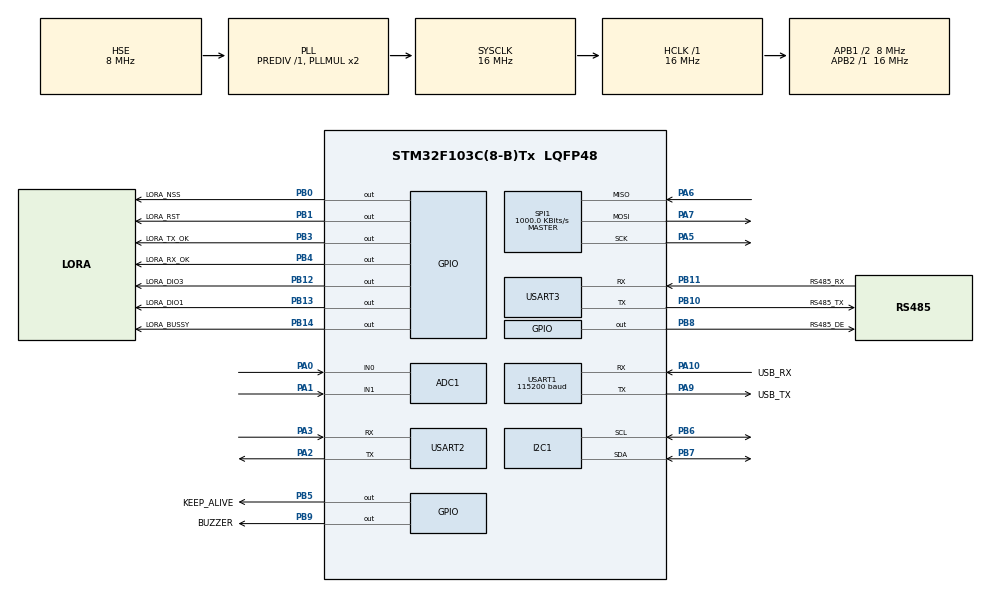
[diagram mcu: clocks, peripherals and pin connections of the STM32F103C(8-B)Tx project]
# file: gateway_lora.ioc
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ADC1.Channel-0\#ChannelRegularConversion=ADC_CHANNEL_0
ADC1.Channel-1\#ChannelRegularConversion=ADC_CHANNEL_1
ADC1.Channel-2\#ChannelRegularConversion=ADC_CHANNEL_VREFINT
ADC1.Channel-4\#ChannelRegularConversion=ADC_CHANNEL_0
ADC1.ContinuousConvMode=DISABLE
ADC1.ExternalTrigConv=ADC_SOFTWARE_START
ADC1.NbrOfConversion=4
ADC1.NbrOfConversionFlag=1
ADC1.Rank-0\#ChannelRegularConversion=1
ADC1.Rank-1\#ChannelRegularConversion=2
ADC1.Rank-2\#ChannelRegularConversion=3
ADC1.Rank-4\#ChannelRegularConversion=4
ADC1.SamplingTime-0\#ChannelRegularConversion=ADC_SAMPLETIME_239CYCLES_5
ADC1.SamplingTime-1\#ChannelRegularConversion=ADC_SAMPLETIME_239CYCLES_5
ADC1.SamplingTime-2\#ChannelRegularConversion=ADC_SAMPLETIME_239CYCLES_5
ADC1.SamplingTime-4\#ChannelRegularConversion=ADC_SAMPLETIME_1CYCLE_5
ADC1.master=1
I2C1.I2C_Mode=I2C_Fast
IWDG.Prescaler=IWDG_PRESCALER_256
IWDG.Reload=782
Mcu.Family=STM32F1
Mcu.Name=STM32F103C(8-B)Tx
Mcu.Package=LQFP48
NVIC.PriorityGroup=NVIC_PRIORITYGROUP_4
NVIC.USART1_IRQn=true\:0\:0\:false\:false\:true\:true\:true\:true
NVIC.USART2_IRQn=true\:0\:0\:false\:false\:true\:true\:true\:true
PA0-WKUP.Signal=ADCx_IN0
PA1.Signal=ADCx_IN1
PA10.GPIO_Label=USB_RX
PA10.Mode=Asynchronous
PA10.Signal=USART1_RX
PA13.Mode=Serial_Wire
PA13.Signal=SYS_JTMS-SWDIO
PA14.Mode=Serial_Wire
PA14.Signal=SYS_JTCK-SWCLK
PA2.Mode=Asynchronous
PA2.Signal=USART2_TX
PA3.Mode=Asynchronous
PA3.Signal=USART2_RX
PA5.Mode=Full_Duplex_Master
PA5.Signal=SPI1_SCK
PA6.Mode=Full_Duplex_Master
PA6.Signal=SPI1_MISO
PA7.Mode=Full_Duplex_Master
PA7.Signal=SPI1_MOSI
PA9.GPIO_Label=USB_TX
PA9.Mode=Asynchronous
PA9.Signal=USART1_TX
PB0.GPIO_Label=LORA_NSS
PB0.Signal=GPIO_Output
PB1.GPIO_Label=LORA_RST
PB1.Signal=GPIO_Output
PB10.GPIO_Label=RS485_TX
PB10.Mode=Asynchronous
PB10.Signal=USART3_TX
PB11.GPIO_Label=RS485_RX
PB11.Mode=Asynchronous
PB11.Signal=USART3_RX
PB12.GPIO_Label=LORA_DIO3
PB12.Signal=GPIO_Output
PB13.GPIO_Label=LORA_DIO1
PB13.Signal=GPIO_Output
PB14.GPIO_Label=LORA_BUSSY
PB14.Signal=GPIO_Output
PB3.GPIO_Label=LORA_TX_OK
PB3.Signal=GPIO_Output
PB4.GPIO_Label=LORA_RX_OK
PB4.Signal=GPIO_Output
PB5.GPIO_Label=KEEP_ALIVE
PB5.Signal=GPIO_Output
PB6.Mode=I2C
PB6.Signal=I2C1_SCL
PB7.Mode=I2C
PB7.Signal=I2C1_SDA
PB8.GPIO_Label=RS485_DE
PB8.Signal=GPIO_Output
PB9.GPIO_Label=BUZZER
PB9.Signal=GPIO_Output
PD0-OSC_IN.Mode=HSE-External-Oscillator
PD0-OSC_IN.Signal=RCC_OSC_IN
PD1-OSC_OUT.Mode=HSE-External-Oscillator
PD1-OSC_OUT.Signal=RCC_OSC_OUT
ProjectManager.HeapSize=0x200
ProjectManager.StackSize=0x400
ProjectManager.TargetToolchain=STM32CubeIDE
RCC.AHBFreq_Value=16000000
RCC.APB1CLKDivider=RCC_HCLK_DIV2
RCC.APB1Freq_Value=8000000
RCC.APB1TimFreq_Value=16000000
RCC.APB2Freq_Value=16000000
RCC.APB2TimFreq_Value=16000000
RCC.HCLKFreq_Value=16000000
RCC.PLLSourceVirtual=RCC_PLLSOURCE_HSE
RCC.SYSCLKFreq_VALUE=16000000
RCC.SYSCLKSource=RCC_SYSCLKSOURCE_PLLCLK
RCC.USBFreq_Value=16000000
SH.ADCx_IN0.0=ADC1_IN0,IN0
SH.ADCx_IN1.0=ADC1_IN1,IN1
SPI1.BaudRatePrescaler=SPI_BAUDRATEPRESCALER_16
SPI1.CRCCalculation=SPI_CRCCALCULATION_DISABLE
SPI1.CalculateBaudRate=1000.0 KBits/s
SPI1.Direction=SPI_DIRECTION_2LINES
SPI1.Mode=SPI_MODE_MASTER
SPI1.VirtualType=VM_MASTER
USART1.BaudRate=115200
USART1.VirtualMode=VM_ASYNC
USART2.VirtualMode=VM_ASYNC
USART3.VirtualMode=VM_ASYNC
VP_ADC1_TempSens_Input.Mode=IN-TempSens
VP_ADC1_Vref_Input.Mode=IN-Vrefint
VP_CRC_VS_CRC.Mode=CRC_Activate
VP_IWDG_VS_IWDG.Mode=IWDG_Activate
board=custom

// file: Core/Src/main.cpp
/* USER CODE BEGIN Header */
/**
 ******************************************************************************
 * @file           : main.c
 * @brief          : Main program body for LoRa Gateway (RX, TX, TX_RX modes)
 ******************************************************************************
 * @attention
 *
 * Copyright (c) 2024 STMicroelectronics. // Copyright (c) 2024-2025 YourCompany.
 * All rights reserved.
 *
 * This software is licensed under terms that can be found in the LICENSE file
 * in the root directory of this software component.
 * If no LICENSE file comes with this software, it is provided AS-IS.
 *
 ******************************************************************************
 */
/* USER CODE END Header */
#include "main.h"

/* USER CODE BEGIN Includes */
#include "Gpio.hpp"
#include "GpioHandler.hpp" // GpioHandler might not be used if only LED toggling
#include "Lora.hpp"
#include "Memory.hpp"
#include "UartHandler.hpp"
#include "CommandMessage.hpp"
#include <vector>
#include <cstring> // For memcpy and memset
#include <stdio.h>  // For printf

// Include version information (auto-generated during build)
#ifdef __has_include
#if __has_include("version.h")
#include "version.h"
#endif
#endif

// Default version info if version.h is not available
#ifndef FIRMWARE_VERSION
#define FIRMWARE_VERSION "2.0.0"
#define BUILD_DATE "unknown"
#define BUILD_TIME "unknown"
#define GIT_HASH "unknown"
#define GIT_TAG "v2.0.0"
#define VERSION_STRING "v2.0.0 (unknown)"
#endif
#include <algorithm> // For std::min
#include <random>
#include <memory>
#include <cmath> // For sqrtf function
/* USER CODE END Includes */

/* USER CODE BEGIN PTD */

// Define el modo de operación del firmware.
// Cambiar esto para recompilar en un modo diferente.

enum class OperationMode {
  RX_MODE,
  TX_MODE,
  TX_RX_MODE
};

#define FIRMWARE_OPERATION_MODE OperationMode::TX_RX_MODE

// Identificador único para este dispositivo y su función de módulo esperada para comandos de configuración
#define DEVICE_ID 0x00
#define DEVICE_MODULE_FUNCTION MODULE_FUNCTION::SERVER // Asume que los comandos de config van a un "SERVER"

// Constantes para los modos de operación
#define MODE_OPERATION_RX 0x01
#define MODE_OPERATION_TX 0x02
#define MODE_OPERATION_TX_RX 0x03

// Constantes para simulación de Sniffer
#define CMD_ID_TRIGGER_SNIFFER_SIMULATION 0x30
#define SNIFFER_IO_DATA_SIZE 33
#define SNIFFER_TAG_DATA_SIZE 33 // Definido aquí para evitar errores de identificador no definido

// Constantes para simulación de tags basadas en el código Python
#define ONE_DETECTION 0x17
#define MULTIPLE_DETECTION 0x18
#define MAX_DISTANCE_A 40.0f
#define TRANSMITTER_DISTANCE 2.4f
#define MAX_DISTANCE_DIFF 0.5f
#define Y_CONST -3.0f
#define MAX_SNIFFERS 5
#define MAX_TAGS_PER_FRAME 24

// Estructura para datos de tag con distancias (Multiple Detection)
struct TagWithDistance {
    uint32_t tag_id;
    float distance_a;
    float distance_b;
    float battery;
    float x;
    float y;
};

// Estructura para datos de tag simple (One Detection)
struct TagSimple {
    uint32_t tag_id;
    uint8_t battery; // Battery * 10 (250-420 representa 2.5V-4.2V)
};

// Estructuras para simulación de datos de sniffer
struct SnifferDeviceConfig {
    uint8_t digital_output1;
    uint8_t digital_output2;
    uint8_t digital_input1;
    uint8_t digital_input2;
    uint8_t switch_output_20ma;
    uint8_t switch_input_20ma;
    uint8_t switch_serial;
    uint16_t analog_output_0_10v;
    uint16_t analog_output_x_20ma;
    uint16_t analog_input_0_10v;
    uint16_t analog_input6_x_20ma;
    uint16_t analog_input1_x_20ma;
    uint16_t analog_input2_x_20ma;
    uint16_t analog_input5_x_20ma;
};

struct DeviceSerialQueryConfigCpp {
    uint8_t query[16];
    uint8_t query_length;
    uint16_t response_size;
    uint16_t query_time_ms;
    uint32_t last_query_time_ms;
};

// Variables globales para simulación
bool simulationEnabled = false;
bool snifferTagSimulationEnabled = false; // Nueva bandera para simulación de sniffer tag
SnifferDeviceConfig deviceConfig;
DeviceSerialQueryConfigCpp serialQueryConfig;
uint32_t lastSimulationTime = 0;
uint32_t simulationInterval = 1000; // 1 segundo por defecto

// Variables para el estado de simulación de tags (matching Python logic)
uint32_t received_sniffer_id = 0;
uint32_t multiple_sniffer_id = 0;
uint32_t current_sniffer_id = 1;

// Array de UUIDs fijos para los sniffers
const char* device_uuids[] = {
    "f59422b3c7bb4fbc8d1893f1",  // UUIDs originales mantenidos
    "9e7a33fa404e2bc18986ceb4",
    "26870c502b927945422fc8ad",
    "a1b2c3d4e5f6a7b8c9d0e1f2",  // UUIDs fijos adicionales
    "b2c3d4e5f6a7b8c9d0e1f2a3",
    "c3d4e5f6a7b8c9d0e1f2a3b4",
    "d4e5f6a7b8c9d0e1f2a3b4c5",
    "e5f6a7b8c9d0e1f2a3b4c5d6",
    "f6a7b8c9d0e1f2a3b4c5d6e7",
    "a7b8c9d0e1f2a3b4c5d6e7f8",
    "b8c9d0e1f2a3b4c5d6e7f8a9",
    "c9d0e1f2a3b4c5d6e7f8a9b0",
    "d0e1f2a3b4c5d6e7f8a9b0c1",
    "e1f2a3b4c5d6e7f8a9b0c1d2",
    "f2a3b4c5d6e7f8a9b0c1d2e3",
    "a3b4c5d6e7f8a9b0c1d2e3f4",
    "b4c5d6e7f8a9b0c1d2e3f4a5",
    "c5d6e7f8a9b0c1d2e3f4a5b6",
    "d6e7f8a9b0c1d2e3f4a5b6c7",
    "e7f8a9b0c1d2e3f4a5b6c7d8"
};

#define NUM_DEVICE_UUIDS (sizeof(device_uuids) / sizeof(device_uuids[0]))

/* USER CODE END PTD */

/* USER CODE BEGIN PD */
#ifndef MAX_LORA_BUFFER_SIZE
#define MAX_LORA_BUFFER_SIZE 255
#endif

#ifndef MAX_UART_BUFFER_SIZE
#define MAX_UART_BUFFER_SIZE 255 // Asegúrate que CommandMessage.hpp o main.h lo define
#endif
/* USER CODE END PD */

ADC_HandleTypeDef hadc1;
CRC_HandleTypeDef hcrc;
I2C_HandleTypeDef hi2c1;
IWDG_HandleTypeDef hiwdg;
SPI_HandleTypeDef hspi1;
UART_HandleTypeDef huart1; // Assuming for debug or other purposes
UART_HandleTypeDef huart2; // Main UART for LoRa data and config
UART_HandleTypeDef huart3; // Potentially for other purposes

/* USER CODE BEGIN PV */
// Punteros globales inicializados a nullptr
UartHandler* uartHandler = nullptr;
Memory* eepromMemory = nullptr;
Gpio* loraNssPin = nullptr;
Gpio* loraRstPin = nullptr;
Lora* lora = nullptr;
Gpio* loraRxLed = nullptr;
Gpio* loraTxLed = nullptr;
Gpio* keepAliveLed = nullptr;
CommandMessage* uartCommandParser = nullptr;
CommandMessage* loraCommandParser = nullptr;
CommandMessage* uartSimulatedCommandParse = nullptr;

// Define el modo de operación actual
OperationMode currentOperationMode = FIRMWARE_OPERATION_MODE;

// Buffers and state for LoRa communication
uint8_t loraReceiveBuffer[MAX_LORA_BUFFER_SIZE] = {0};
uint8_t loraReceivedBytes = 0;
uint8_t loraTransmitBuffer[MAX_LORA_BUFFER_SIZE] = {0};
uint8_t loraTransmitSizeBytes = 0;
bool pendingLoraTransmission = false;

// Buffers and state for UART communication
uint8_t uartReceiveBuffer[MAX_UART_BUFFER_SIZE] = {0};
uint16_t uartReceivedBytes = 0; // Renamed from bytes_reciv_software and bytes_reciv
bool newUartDataReceived = false;

// Control flag to stop LoRa reception during UART processing
bool blockLoraReception = false;
uint32_t blockStartTime = 0;
const uint32_t BLOCK_DURATION_MS = 1000; // 1 second blocking period

uint32_t keepAliveLastTick = 0;
/* USER CODE END PV */

void SystemClock_Config(void);
static void MX_GPIO_Init(void);
static void MX_I2C1_Init(void);
static void MX_SPI1_Init(void);
static void MX_USART1_UART_Init(void);
static void MX_USART2_UART_Init(void);
static void MX_USART3_UART_Init(void);
static void MX_ADC1_Init(void);
static void MX_CRC_Init(void);
static void MX_IWDG_Init(void);
/* USER CODE BEGIN PFP */
void transmitLoraSettingResponse(Lora* loraDevice, UartHandler* uartComm, CommandMessage* cmdBuilder, uint8_t queryCommandId);
void processUartCommand(void);
void handleLoraReception(void);
void handleLoraTransmission(void);
// Prototipos para funcionalidad de simulación de sniffer
void initializeDefaultDeviceConfig(void);
void generateRandomSnifferIoDataCpp(uint8_t* buffer, size_t* dataSize, const SnifferDeviceConfig* config = nullptr);
void triggerSnifferSimulation(void);
void triggerSnifferTagSimulation(void); // Prototipo para nueva función
void handleSnifferSimulation(void);
bool buildAndSendSnifferFrame(const uint8_t* payload, size_t payloadSize, uint8_t commandId = 0x23);
bool buildAndSendTagSimulationFrame(uint8_t* buffer, size_t dataSize, bool isMultipleDetection);
uint32_t getRandomNumber(uint32_t min, uint32_t max);
void generateRandomSnifferTagDataCpp(uint8_t* buffer, size_t* dataSize); // Prototipo para generador de datos de sniffer tag
// Enhanced prototypes for Python-compatible tag simulation
void calculateXLimits(float y_const, float max_distance, float* x_min, float* x_max);
void generateDataConstantY(TagWithDistance* tags, uint8_t num_points);
void generateRandomMultipleDetectionData(TagWithDistance* tags, uint8_t num_tags);
void generateRandomOneDetectionData(TagSimple* tags, uint8_t num_tags);
void buildMultipleDetectionFrame(uint32_t sniffer_id, TagWithDistance* tags, uint8_t num_tags, uint8_t* buffer, size_t* dataSize);
void buildOneDetectionFrame(uint32_t sniffer_id, TagSimple* tags, uint8_t num_tags, uint8_t* buffer, size_t* dataSize);
void enhancedTagSimulation(uint8_t* buffer, size_t* dataSize, uint8_t* commandId); // Main enhanced simulation function
/* USER CODE END PFP */

/* USER CODE BEGIN 0 */

void HAL_UART_RxCpltCallback(UART_HandleTypeDef *huart) {
    if (huart == &huart1 && uartHandler != nullptr) {
        // Block LoRa reception when UART data is being received
        blockLoraReception = true;

        // Get the received byte from the buffer
        uint8_t received_byte = uartReceiveBuffer[0];

        // Process the received byte using the improved method
        uartReceivedBytes = uartHandler->process_received_byte(received_byte, uartReceiveBuffer);

        // Set flag if a complete frame was received
        if (uartReceivedBytes > 0) {
            newUartDataReceived = true;
        }

        // Continue reception for next byte
        HAL_UART_Receive_IT(huart, uartReceiveBuffer, 1);
    }
}

// Función para cambiar el modo de operación dinámicamente
bool changeOperationMode(uint8_t newMode) {
    switch(newMode) {
        case MODE_OPERATION_RX:
            currentOperationMode = OperationMode::RX_MODE;
            break;
        case MODE_OPERATION_TX:
            currentOperationMode = OperationMode::TX_MODE;
            break;
        case MODE_OPERATION_TX_RX:
            currentOperationMode = OperationMode::TX_RX_MODE;
            break;
        default:
            return false; // Modo no reconocido
    }

    // Limpiar buffers y estados
    memset(loraReceiveBuffer, 0, MAX_LORA_BUFFER_SIZE);
    memset(loraTransmitBuffer, 0, MAX_LORA_BUFFER_SIZE);
    loraReceivedBytes = 0;
    loraTransmitSizeBytes = 0;
    pendingLoraTransmission = false;

    // Se podría añadir indicación visual del cambio (LEDs)
    return true;
}

// ============================================================================
// IMPLEMENTACIÓN DE FUNCIONALIDAD DE SIMULACIÓN DE SNIFFER
// ============================================================================

/**
 * @brief Calcula CRC-16/MODBUS para un array de datos
 * @param data: Puntero a los datos
 * @param length: Longitud de los datos
 * @return CRC-16 calculado
 */
/**
 * @brief Inicializa la configuración por defecto del dispositivo sniffer
 */
void initializeDefaultDeviceConfig(void) {
    // Configuración digital por defecto
    deviceConfig.digital_output1 = 0;
    deviceConfig.digital_output2 = 0;
    deviceConfig.digital_input1 = 1;
    deviceConfig.digital_input2 = 0;
    deviceConfig.switch_output_20ma = 1;
    deviceConfig.switch_input_20ma = 0;
    deviceConfig.switch_serial = 1;

    // Configuración analógica por defecto (valores típicos entre 1000-4095)
    deviceConfig.analog_output_0_10v = 2500;
    deviceConfig.analog_output_x_20ma = 3000;
    deviceConfig.analog_input_0_10v = 2000;
    deviceConfig.analog_input6_x_20ma = 2800;
    deviceConfig.analog_input1_x_20ma = 3200;
    deviceConfig.analog_input2_x_20ma = 1800;
    deviceConfig.analog_input5_x_20ma = 3500;

    // Configuración de query serie por defecto
    memset(&serialQueryConfig, 0, sizeof(DeviceSerialQueryConfigCpp));
    serialQueryConfig.query_length = 0;
    serialQueryConfig.response_size = 0;
    serialQueryConfig.query_time_ms = 1000;
    serialQueryConfig.last_query_time_ms = 0;
}

/**
 * @brief Convierte un UUID en formato string hexadecimal a bytes
 * @param uuidStr: String del UUID (24 caracteres hex)
 * @param buffer: Buffer donde escribir los 12 bytes del UUID
 * @return true si la conversión fue exitosa, false en caso de error
 */
bool hexStringToBytes(const char* uuidStr, uint8_t* buffer) {
    if (!uuidStr || !buffer) return false;

    // Verificar que el string tenga exactamente 24 caracteres (12 bytes * 2)
    size_t len = strlen(uuidStr);
    if (len != 24) return false;

    for (int i = 0; i < 12; i++) {
        char highNibble = uuidStr[i * 2];
        char lowNibble = uuidStr[i * 2 + 1];

        // Convertir caracteres hex a valores numéricos
        uint8_t high = 0, low = 0;

        if (highNibble >= '0' && highNibble <= '9') high = highNibble - '0';
        else if (highNibble >= 'a' && highNibble <= 'f') high = highNibble - 'a' + 10;
        else if (highNibble >= 'A' && highNibble <= 'F') high = highNibble - 'A' + 10;
        else return false;

        if (lowNibble >= '0' && lowNibble <= '9') low = lowNibble - '0';
        else if (lowNibble >= 'a' && lowNibble <= 'f') low = lowNibble - 'a' + 10;
        else if (lowNibble >= 'A' && lowNibble <= 'F') low = lowNibble - 'A' + 10;
        else return false;

        buffer[i] = (high << 4) | low;
    }

    return true;
}

/**
 * @brief Genera un número aleatorio en un rango específico
 * @param min: Valor mínimo
 * @param max: Valor máximo
 * @return Número aleatorio generado
 */
uint32_t getRandomNumber(uint32_t min, uint32_t max) {
    static bool initialized = false;
    static std::mt19937 generator;

    if (!initialized) {
        generator.seed(HAL_GetTick());
        initialized = true;
    }

    std::uniform_int_distribution<uint32_t> distribution(min, max);
    return distribution(generator);
}

/**
 * @brief Genera datos aleatorios para Sniffer IO (equivalente a la función Python)
 * @param buffer: Buffer donde escribir los datos
 * @param dataSize: Puntero al tamaño de los datos generados
 * @param config: Configuración opcional (si es nullptr, usa valores aleatorios)
 */
void generateRandomSnifferIoDataCpp(uint8_t* buffer, size_t* dataSize, const SnifferDeviceConfig* config) {
    if (!buffer || !dataSize) return;

    *dataSize = SNIFFER_IO_DATA_SIZE; // 33 bytes
    memset(buffer, 0, SNIFFER_IO_DATA_SIZE);

    // Seleccionar un UUID fijo aleatorio de la lista (12 bytes)
    uint32_t uuidIndex = getRandomNumber(0, NUM_DEVICE_UUIDS - 1);
    const char* selectedUuid = device_uuids[uuidIndex];

    // Convertir UUID de string hex a bytes
    if (!hexStringToBytes(selectedUuid, buffer)) {
        // Si falla la conversión, generar UUID aleatorio como fallback
        for (int i = 0; i < 12; i++) {
            buffer[i] = getRandomNumber(0, 255);
        }
    }

    // Valores digitales (7 bytes) - usar configuración si está disponible
    if (config) {
        buffer[12] = config->digital_output1;
        buffer[13] = config->digital_output2;
        buffer[14] = config->digital_input1;
        buffer[15] = config->digital_input2;
        buffer[16] = config->switch_output_20ma;
        buffer[17] = config->switch_input_20ma;
        buffer[18] = config->switch_serial;
    } else {
        // Valores aleatorios para salidas digitales
        buffer[12] = getRandomNumber(0, 1); // Digital Output 1
        buffer[13] = getRandomNumber(0, 1); // Digital Output 2
        buffer[14] = getRandomNumber(0, 1); // Digital Input 1
        buffer[15] = getRandomNumber(0, 1); // Digital Input 2
        buffer[16] = getRandomNumber(0, 1); // Switch Output x 20mA
        buffer[17] = getRandomNumber(0, 1); // Switch Input x 20mA
        buffer[18] = getRandomNumber(0, 1); // Switch Serial
    }

    // Valores analógicos (14 bytes) - 7 valores de 2 bytes cada uno en big-endian
    uint16_t analogValues[7];

    if (config) {
        analogValues[0] = config->analog_output_0_10v;
        analogValues[1] = config->analog_output_x_20ma;
        analogValues[2] = config->analog_input_0_10v;
        analogValues[3] = config->analog_input6_x_20ma;
        analogValues[4] = config->analog_input1_x_20ma;
        analogValues[5] = config->analog_input2_x_20ma;
        analogValues[6] = config->analog_input5_x_20ma;
    } else {
        // Valores aleatorios entre 1000 y 4095 (12-bit ADC)
        for (int i = 0; i < 7; i++) {
            analogValues[i] = getRandomNumber(1000, 4095);
        }
    }

    // Escribir valores analógicos en formato big-endian
    for (int i = 0; i < 7; i++) {
        buffer[19 + i * 2] = (analogValues[i] >> 8) & 0xFF; // Byte alto
        buffer[20 + i * 2] = analogValues[i] & 0xFF;        // Byte bajo
    }
}

/**
 * @brief Genera datos aleatorios para Sniffer Tag (nueva función)
 * Simula el formato de "One Detection" (0x17) con múltiples tags
 * Estructura: Sniffer ID (12 bytes UUID) + Total Tags (1) + Frame Tags (1) + [Tag ID (4) + Battery (1)] * N
 * @param buffer: Buffer donde escribir los datos (hasta MAX_LORA_BUFFER_SIZE = 255 bytes)
 * @param dataSize: Puntero al tamaño de los datos generados
 */
void generateRandomSnifferTagDataCpp(uint8_t* buffer, size_t* dataSize) {
    if (!buffer || !dataSize) return;

    // Limpiar buffer con el tamaño máximo
    memset(buffer, 0, MAX_LORA_BUFFER_SIZE);

    // Calcular máximo número de tags basado en LoRa frame size (255 bytes)
    // Header: 12 bytes UUID + 1 byte total tags + 1 byte frame tags = 14 bytes
    // Cada tag: 4 bytes ID + 1 byte battery = 5 bytes por tag
    // Máximo tags: (255 - 14) / 5 = 48 tags
    const size_t header_size = 14; // 12 bytes UUID + 2 bytes counts
    const size_t bytes_per_tag = 5;
    const size_t max_tags = (MAX_LORA_BUFFER_SIZE - header_size) / bytes_per_tag;

    // Generar número aleatorio de tags (1 hasta máximo posible)
    uint8_t num_tags = getRandomNumber(1, max_tags);

    // Calcular tamaño final del frame
    *dataSize = header_size + (num_tags * bytes_per_tag);

    // Bytes 0-11: Sniffer ID usando UUID de la lista (mismo método que generateRandomSnifferIoDataCpp)
    uint32_t uuidIndex = getRandomNumber(0, NUM_DEVICE_UUIDS - 1);
    const char* selectedUuid = device_uuids[uuidIndex];

    // Convertir UUID de string hex a bytes (primeros 12 bytes)
    if (!hexStringToBytes(selectedUuid, buffer)) {
        // Si falla la conversión, generar UUID aleatorio como fallback
        for (int i = 0; i < 12; i++) {
            buffer[i] = getRandomNumber(0, 255);
        }
    }

    // Byte 12: Total tags registrados (mismo que frame tags para simplicidad)
    buffer[12] = num_tags;

    // Byte 13: Tags en este frame
    buffer[13] = num_tags;

    // Bytes 14+: Datos de cada tag (5 bytes por tag)
    size_t offset = 14;
    for (uint8_t i = 0; i < num_tags && offset + bytes_per_tag <= MAX_LORA_BUFFER_SIZE; ++i) {
        // Tag ID (4 bytes, little-endian) - rango 0-200 como en Python
        uint32_t tag_id = getRandomNumber(0, 200);
        buffer[offset] = tag_id & 0xFF;
        buffer[offset + 1] = (tag_id >> 8) & 0xFF;
        buffer[offset + 2] = (tag_id >> 16) & 0xFF;
        buffer[offset + 3] = (tag_id >> 24) & 0xFF;

        // Battery (1 byte) - rango 25-42 como en Python, pero multiplicado por 10 para el protocolo
        uint8_t battery = getRandomNumber(25, 42) * 10; // 250-420 (representa 2.5V-4.2V)
        buffer[offset + 4] = battery;

        offset += bytes_per_tag;
    }
}

/**
 * @brief Activa la simulación de sniffer
 */
void triggerSnifferSimulation(void) {
    simulationEnabled = true;
    snifferTagSimulationEnabled = false; // Por defecto, solo sniffer IO
}

/**
 * @brief Activa la simulación de sniffer tag
 */
void triggerSnifferTagSimulation(void) {
    snifferTagSimulationEnabled = true;
    simulationEnabled = false; // Solo uno activo a la vez
}

/**
 * @brief Maneja la lógica de simulación de sniffer (llamar desde el loop principal)
 */
void handleSnifferSimulation(void) {
    static uint32_t lastSimTime = 0;
    uint32_t now = HAL_GetTick();
    if (now - lastSimTime < simulationInterval) return;
    lastSimTime = now;

    // Buffer para datos de simulación - usar tamaño máximo de LoRa frame
    uint8_t simData[MAX_LORA_BUFFER_SIZE];
    size_t simDataSize = 0;

    if (simulationEnabled) {
        // Simulación IO: LED RX y TX alternan (patrón existente)
        generateRandomSnifferIoDataCpp(simData, &simDataSize, &deviceConfig);
        buildAndSendSnifferFrame(simData, simDataSize);

        // Indicador visual para simulación IO (patrón rápido)
        if (loraRxLed && loraTxLed) {
            HAL_GPIO_WritePin(loraRxLed->get_port(), loraRxLed->get_pin(), GPIO_PIN_SET);
            HAL_Delay(50);
            HAL_GPIO_WritePin(loraRxLed->get_port(), loraRxLed->get_pin(), GPIO_PIN_RESET);
            HAL_GPIO_WritePin(loraTxLed->get_port(), loraTxLed->get_pin(), GPIO_PIN_SET);
            HAL_Delay(50);
            HAL_GPIO_WritePin(loraTxLed->get_port(), loraTxLed->get_pin(), GPIO_PIN_RESET);
        }
        } else if (snifferTagSimulationEnabled) {
        // Enhanced TAG simulation: use new Python-compatible logic
        uint8_t frameCommandId = ONE_DETECTION; // Default
        enhancedTagSimulation(simData, &simDataSize, &frameCommandId);
        if (simDataSize > 0) {
            buildAndSendSnifferFrame(simData, simDataSize, frameCommandId);
        }

        // Indicador visual para simulación TAG (patrón doble)
        if (loraRxLed && loraTxLed) {
            // Doble parpadeo RX para indicar simulación TAG
            HAL_GPIO_WritePin(loraRxLed->get_port(), loraRxLed->get_pin(), GPIO_PIN_SET);
            HAL_GPIO_WritePin(loraTxLed->get_port(), loraTxLed->get_pin(), GPIO_PIN_SET);
            HAL_Delay(100);
            HAL_GPIO_WritePin(loraRxLed->get_port(), loraRxLed->get_pin(), GPIO_PIN_RESET);
            HAL_GPIO_WritePin(loraTxLed->get_port(), loraTxLed->get_pin(), GPIO_PIN_RESET);
            HAL_Delay(50);
            HAL_GPIO_WritePin(loraRxLed->get_port(), loraRxLed->get_pin(), GPIO_PIN_SET);
            HAL_GPIO_WritePin(loraTxLed->get_port(), loraTxLed->get_pin(), GPIO_PIN_SET);
            HAL_Delay(100);
            HAL_GPIO_WritePin(loraRxLed->get_port(), loraRxLed->get_pin(), GPIO_PIN_RESET);
            HAL_GPIO_WritePin(loraTxLed->get_port(), loraTxLed->get_pin(), GPIO_PIN_RESET);
        }
    }
}

/**
 * @brief Construye y envía un frame de sniffer completo con headers y CRC
 * @param payload: Datos del payload (33 bytes de IO + datos serie opcionales)
 * @param payloadSize: Tamaño del payload
 * @param commandId: Command ID to use (0x17 for One Detection, 0x18 for Multiple Detection, 0x23 for IO)
 * @return true si se envió correctamente, false en caso de error
 */
bool buildAndSendSnifferFrame(const uint8_t* payload, size_t payloadSize, uint8_t commandId) {
    if (!payload || payloadSize == 0 || !uartHandler || !uartSimulatedCommandParse) {
        return false;
    }

    // Configurar el comando dinámicamente
    uartSimulatedCommandParse->setCommandId(commandId);

    // Usar el nuevo protocolo FrameBuilder a través de composeAndSendMessage
    bool success = uartSimulatedCommandParse->composeAndSendMessage(
        uartHandler,
        const_cast<uint8_t*>(payload),
        static_cast<uint8_t>(payloadSize)
    );

    return success;
}

/**
 * @brief Build and send tag simulation frame with appropriate command ID
 * Determines the command ID based on frame content and sends the frame
 * @param buffer: Frame data buffer
 * @param dataSize: Size of frame data
 * @param isMultipleDetection: true for Multiple Detection (0x18), false for One Detection (0x17)
 * @return true if sent successfully, false otherwise
 */
bool buildAndSendTagSimulationFrame(uint8_t* buffer, size_t dataSize, bool isMultipleDetection) {
    if (!buffer || dataSize == 0) return false;

    uint8_t commandId = isMultipleDetection ? MULTIPLE_DETECTION : ONE_DETECTION;
    return buildAndSendSnifferFrame(buffer, dataSize, commandId);
}

// Optimized helper function to send LoRa setting responses via UART
// Uses cached values directly for maximum speed
void transmitLoraSettingResponse(Lora* loraDevice, UartHandler* uartComm, CommandMessage* cmdBuilder,
                                 uint8_t queryCommandId) {
    if (!loraDevice || !uartComm || !cmdBuilder) return;

    uint8_t dataArray[4];
    size_t dataSize = 0;

    // Use cached values directly - no EEPROM reads needed
    // Settings are loaded during initialization
    switch (queryCommandId) {
        case static_cast<uint8_t>(CommandType::QUERY_RX_FREQ): {
            float freqOut = loraDevice->get_rx_frequency() / 1000000.0f;
            memcpy(dataArray, &freqOut, sizeof(float));
            dataSize = sizeof(float);
            break;
        }
        case static_cast<uint8_t>(CommandType::QUERY_TX_FREQ): {
            float freqOut = loraDevice->get_tx_frequency() / 1000000.0f;
            memcpy(dataArray, &freqOut, sizeof(float));
            dataSize = sizeof(float);
            break;
        }
        case static_cast<uint8_t>(CommandType::QUERY_SPREAD_FACTOR): {
            uint8_t sf = loraDevice->get_spread_factor();
            memcpy(dataArray, &sf, sizeof(uint8_t));
            dataSize = sizeof(uint8_t);
            break;
        }
        case static_cast<uint8_t>(CommandType::QUERY_CODING_RATE): {
            uint8_t cr = loraDevice->get_coding_rate();
            memcpy(dataArray, &cr, sizeof(uint8_t));
            dataSize = sizeof(uint8_t);
            break;
        }
        case static_cast<uint8_t>(CommandType::QUERY_BANDWIDTH): {
            uint8_t bw = loraDevice->get_bandwidth();
            memcpy(dataArray, &bw, sizeof(uint8_t));
            dataSize = sizeof(uint8_t);
            break;
        }
        default:
            return;
    }

    // Send response immediately
    cmdBuilder->composeAndSendMessage(uartComm, dataArray, dataSize);
}

void processUartCommand() {
    if (!newUartDataReceived || uartReceivedBytes == 0 || !uartCommandParser || !lora || !uartHandler) {
        return;
    }

    STATUS frameStatus = uartCommandParser->validate(uartReceiveBuffer, uartReceivedBytes);

    if (frameStatus == STATUS::CONFIG_FRAME) {
        uint8_t commandId = uartCommandParser->getCommandId();

        // Convertir commandId a CommandType para comparación más clara en el switch
        switch (commandId) {
            // Casos para comandos de consulta
            case static_cast<uint8_t>(CommandType::QUERY_RX_FREQ):
            case static_cast<uint8_t>(CommandType::QUERY_TX_FREQ):
            case static_cast<uint8_t>(CommandType::QUERY_SPREAD_FACTOR):
            case static_cast<uint8_t>(CommandType::QUERY_CODING_RATE):
            case static_cast<uint8_t>(CommandType::QUERY_BANDWIDTH):
                transmitLoraSettingResponse(lora, uartHandler, uartCommandParser, commandId);
                break;

            // Casos para comandos de configuración
            case static_cast<uint8_t>(CommandType::SET_TX_FREQ): {
                int freqInt = uartCommandParser->freqDecode();
                lora->set_tx_freq(static_cast<uint32_t>(freqInt));
                // Send immediate response with new value
                transmitLoraSettingResponse(lora, uartHandler, uartCommandParser, static_cast<uint8_t>(CommandType::QUERY_TX_FREQ));
                // Defer slow operations to improve response time
                lora->save_settings();
                lora->configure_modem();
                break;
            }
            case static_cast<uint8_t>(CommandType::SET_RX_FREQ): {
                int freqInt = uartCommandParser->freqDecode();
                lora->set_rx_freq(static_cast<uint32_t>(freqInt));
                // Send immediate response with new value
                transmitLoraSettingResponse(lora, uartHandler, uartCommandParser, static_cast<uint8_t>(CommandType::QUERY_RX_FREQ));
                // Defer slow operations to improve response time
                lora->save_settings();
                lora->configure_modem();
                break;
            }
            case static_cast<uint8_t>(CommandType::SET_BANDWIDTH): {
                uint8_t bw = uartCommandParser->getDataAsUint8();
                lora->set_bandwidth(bw);
                // Send immediate response with new value
                transmitLoraSettingResponse(lora, uartHandler, uartCommandParser, static_cast<uint8_t>(CommandType::QUERY_BANDWIDTH));
                // Defer slow operations to improve response time
                lora->save_settings();
                lora->configure_modem();
                break;
            }
            case static_cast<uint8_t>(CommandType::SET_SPREAD_FACTOR): {
                uint8_t sf = uartCommandParser->getDataAsUint8();
                lora->set_spread_factor(sf);
                // Send immediate response with new value
                transmitLoraSettingResponse(lora, uartHandler, uartCommandParser, static_cast<uint8_t>(CommandType::QUERY_SPREAD_FACTOR));
                // Defer slow operations to improve response time
                lora->save_settings();
                lora->configure_modem();
                break;
            }
            case static_cast<uint8_t>(CommandType::SET_CODING_RATE): {
                uint8_t cr = uartCommandParser->getDataAsUint8();
                lora->set_coding_rate(cr);
                // Send immediate response with new value
                transmitLoraSettingResponse(lora, uartHandler, uartCommandParser, static_cast<uint8_t>(CommandType::QUERY_CODING_RATE));
                // Defer slow operations to improve response time
                lora->save_settings();
                lora->configure_modem();
                break;
            }
            case static_cast<uint8_t>(CommandType::SET_UART_BAUDRATE): {
                lora->set_default_parameters();
                // Defer slow operations to improve response time
                lora->save_settings();
                lora->configure_modem();
                break;
            }
            case static_cast<uint8_t>(CommandType::SET_OPERATION_MODE): {
                uint8_t newMode = uartCommandParser->getDataAsUint8();
                if (changeOperationMode(newMode)) {
                    // Responder con confirmación
                    uint8_t response = static_cast<uint8_t>(currentOperationMode);
                    uartCommandParser->composeAndSendMessage(uartHandler, &response, 1);

                    // Indicar visualmente el cambio de modo (opcional)
                    if (loraRxLed && loraTxLed) {
                        // Patrón de parpadeo para indicar el modo
                        switch (currentOperationMode) {
                            case OperationMode::RX_MODE:
                                // Parpadear solo el LED RX
                                HAL_GPIO_WritePin(loraRxLed->get_port(), loraRxLed->get_pin(), GPIO_PIN_SET);
                                HAL_Delay(200);
                                HAL_GPIO_WritePin(loraRxLed->get_port(), loraRxLed->get_pin(), GPIO_PIN_RESET);
                                break;
                            case OperationMode::TX_MODE:
                                // Parpadear solo el LED TX
                                HAL_GPIO_WritePin(loraTxLed->get_port(), loraTxLed->get_pin(), GPIO_PIN_SET);
                                HAL_Delay(200);
                                HAL_GPIO_WritePin(loraTxLed->get_port(), loraTxLed->get_pin(), GPIO_PIN_RESET);
                                break;
                            case OperationMode::TX_RX_MODE:
                                // Parpadear ambos LEDs
                                HAL_GPIO_WritePin(loraRxLed->get_port(), loraRxLed->get_pin(), GPIO_PIN_SET);
                                HAL_GPIO_WritePin(loraTxLed->get_port(), loraTxLed->get_pin(), GPIO_PIN_SET);
                                HAL_Delay(200);
                                HAL_GPIO_WritePin(loraRxLed->get_port(), loraRxLed->get_pin(), GPIO_PIN_RESET);
                                HAL_GPIO_WritePin(loraTxLed->get_port(), loraTxLed->get_pin(), GPIO_PIN_RESET);
                                break;
                        }
                    }
                }
                break;
            }
            case CMD_ID_TRIGGER_SNIFFER_SIMULATION: {
                // Comando para activar/desactivar simulación de sniffer
                uint8_t enable = uartCommandParser->getDataAsUint8();
                if (enable == 1) {
                    triggerSnifferSimulation();
                    // Responder con confirmación
                    uint8_t response = 0x01;
                    uartCommandParser->composeAndSendMessage(uartHandler, &response, 1);
                } else if (enable == 2) {
                    triggerSnifferTagSimulation();
                    uint8_t response = 0x02; // Simulación de sniffer tag activada
                    uartCommandParser->composeAndSendMessage(uartHandler, &response, 1);
                } else {
                    simulationEnabled = false;
                    snifferTagSimulationEnabled = false;
                    uint8_t response = 0x00;
                    uartCommandParser->composeAndSendMessage(uartHandler, &response, 1);
                }
                break;
            }
            default:
                break;
        }
    } else if (frameStatus == STATUS::RETRANSMIT_FRAME) {
        if (currentOperationMode == OperationMode::TX_MODE || currentOperationMode == OperationMode::TX_RX_MODE) {
            if (uartReceivedBytes <= MAX_LORA_BUFFER_SIZE) {
                memcpy(loraTransmitBuffer, uartReceiveBuffer, uartReceivedBytes);
                loraTransmitSizeBytes = uartReceivedBytes;
                pendingLoraTransmission = true;
            }
        }
    }

    memset(uartReceiveBuffer, 0, MAX_UART_BUFFER_SIZE);
    uartReceivedBytes = 0;
    newUartDataReceived = false;
    uartCommandParser->reset(1);

    // Start 1-second blocking period after UART command processing
    blockStartTime = HAL_GetTick();

    // Restart UART reception for next byte - reinitialize interrupt
    HAL_UART_Receive_IT(&huart1, uartReceiveBuffer, 1);

    // blockLoraReception remains true for 1 second
}

void handleLoraReception() {
    if (!lora || !loraRxLed || !uartHandler) return;

    if (currentOperationMode == OperationMode::TX_MODE && !pendingLoraTransmission) {
        return;
    }

    loraReceivedBytes = lora->receive(loraReceiveBuffer, LinkMode::UPLINK);

    if (loraReceivedBytes > 0) {
        HAL_GPIO_WritePin(loraRxLed->get_port(), loraRxLed->get_pin(), GPIO_PIN_SET);

        if (loraCommandParser) {
            STATUS loraFrameStatus = loraCommandParser->validate(loraReceiveBuffer, loraReceivedBytes);

            if (loraFrameStatus == STATUS::RETRANSMIT_FRAME || loraFrameStatus == STATUS::VALID_FRAME || loraFrameStatus == STATUS::CONFIG_FRAME) {
                uartHandler->transmitMessage(loraReceiveBuffer, loraReceivedBytes);
            }
        }

        memset(loraReceiveBuffer, 0, MAX_LORA_BUFFER_SIZE);
        loraReceivedBytes = 0;
        if (loraCommandParser) loraCommandParser->reset(1);
        HAL_GPIO_WritePin(loraRxLed->get_port(), loraRxLed->get_pin(), GPIO_PIN_RESET);
    }
}

void handleLoraTransmission() {
    if (!lora || !loraTxLed) return;

    if (pendingLoraTransmission && (currentOperationMode == OperationMode::TX_MODE || currentOperationMode == OperationMode::TX_RX_MODE)) {
        if (loraTransmitSizeBytes > 0) {
            HAL_GPIO_WritePin(loraTxLed->get_port(), loraTxLed->get_pin(), GPIO_PIN_SET);

            if (lora->transmit(loraTransmitBuffer, loraTransmitSizeBytes, LinkMode::DOWNLINK) == HAL_OK) {
                HAL_Delay(10);
                HAL_GPIO_WritePin(loraTxLed->get_port(), loraTxLed->get_pin(), GPIO_PIN_RESET);
            } else {
                HAL_GPIO_WritePin(loraTxLed->get_port(), loraTxLed->get_pin(), GPIO_PIN_RESET);
            }
            memset(loraTransmitBuffer, 0, MAX_LORA_BUFFER_SIZE);
            loraTransmitSizeBytes = 0;
            pendingLoraTransmission = false;
        }
    }
}

// ============================================================================
// ENHANCED TAG SIMULATION FUNCTIONS (Python-compatible implementation)
// ============================================================================

/**
 * @brief Calculate valid x range where both distances are <= max_distance
 * Equivalent to Python's calculate_x_limits function
 * @param y_const: Constant Y value
 * @param max_distance: Maximum allowed distance
 * @param x_min: Output minimum X value
 * @param x_max: Output maximum X value
 */
void calculateXLimits(float y_const, float max_distance, float* x_min, float* x_max) {
    if (!x_min || !x_max) return;

    // From distance_b equation: sqrt(x² + y_const²) <= max_distance
    float x_max_b = sqrtf(max_distance * max_distance - y_const * y_const);

    // From distance_a equation: sqrt((x + TRANSMITTER_DISTANCE)² + y_const²) <= max_distance
    float x_max_a = sqrtf(max_distance * max_distance - y_const * y_const) - TRANSMITTER_DISTANCE;

    // Take the minimum of both limits
    float x_limit = (x_max_b < x_max_a) ? x_max_b : x_max_a;
    *x_min = -x_limit;
    *x_max = x_limit;
}

/**
 * @brief Generate data points with distances <= MAX_DISTANCE_A (constant Y)
 * Equivalent to Python's generate_data_constant_y function
 * @param tags: Array to store generated tag data
 * @param num_points: Number of points to generate
 */
void generateDataConstantY(TagWithDistance* tags, uint8_t num_points) {
    if (!tags || num_points == 0) return;

    float x_min, x_max;
    calculateXLimits(Y_CONST, MAX_DISTANCE_A, &x_min, &x_max);

    uint8_t generated = 0;
    uint16_t attempts = 0;
    const uint16_t max_attempts = num_points * 10; // Prevent infinite loop

    while (generated < num_points && attempts < max_attempts) {
        attempts++;

        // Generate random X within valid range
        float x = ((float)getRandomNumber(0, 10000) / 10000.0f) * (x_max - x_min) + x_min;

        // Calculate distances
        float distance_a = sqrtf((x + TRANSMITTER_DISTANCE) * (x + TRANSMITTER_DISTANCE) + Y_CONST * Y_CONST);
        float distance_b = sqrtf(x * x + Y_CONST * Y_CONST);

        // Verify distances are within limit
        if (distance_a <= MAX_DISTANCE_A && distance_b <= MAX_DISTANCE_A) {
            tags[generated].tag_id = getRandomNumber(0xAAAAAAAA, 0xFFFFFFFF);
            tags[generated].distance_a = distance_a;
            tags[generated].distance_b = distance_b;
            tags[generated].battery = ((float)getRandomNumber(250, 420)) / 100.0f; // 2.5V to 4.2V
            tags[generated].x = x;
            tags[generated].y = Y_CONST;
            generated++;
        }
    }
}

/**
 * @brief Generate random data for multiple detection with variable distances
 * Equivalent to Python's _generate_random_multiple_detection_data function
 * @param tags: Array to store generated tag data
 * @param num_tags: Number of tags to generate
 */
void generateRandomMultipleDetectionData(TagWithDistance* tags, uint8_t num_tags) {
    if (!tags || num_tags == 0) return;

    for (uint8_t i = 0; i < num_tags; i++) {
        float max_distance = MAX_DISTANCE_A;
        float distance_a, distance_b;

        // Randomly decide if distance_a is greater or less than distance_b
        if (getRandomNumber(0, 1)) {
            // distance_a first, then adjust distance_b
            distance_a = ((float)getRandomNumber(0, 10000) / 10000.0f) * max_distance;
            float min_b = (distance_a - MAX_DISTANCE_DIFF) > 0 ? (distance_a - MAX_DISTANCE_DIFF) : 0;
            float max_b = (distance_a + MAX_DISTANCE_DIFF) < max_distance ? (distance_a + MAX_DISTANCE_DIFF) : max_distance;
            distance_b = ((float)getRandomNumber(0, 10000) / 10000.0f) * (max_b - min_b) + min_b;
        } else {
            // distance_b first, then adjust distance_a
            distance_b = ((float)getRandomNumber(0, 10000) / 10000.0f) * max_distance;
            float min_a = (distance_b - MAX_DISTANCE_DIFF) > 0 ? (distance_b - MAX_DISTANCE_DIFF) : 0;
            float max_a = (distance_b + MAX_DISTANCE_DIFF) < max_distance ? (distance_b + MAX_DISTANCE_DIFF) : max_distance;
            distance_a = ((float)getRandomNumber(0, 10000) / 10000.0f) * (max_a - min_a) + min_a;
        }

        tags[i].tag_id = i; // Simple incremental ID
        tags[i].distance_a = distance_a;
        tags[i].distance_b = distance_b;
        tags[i].battery = ((float)getRandomNumber(250, 420)) / 100.0f; // 2.5V to 4.2V
        tags[i].x = 0.0f; // Not calculated for this mode
        tags[i].y = 0.0f; // Not calculated for this mode
    }
}

/**
 * @brief Generate random data for one detection (alerts)
 * Equivalent to Python's _generate_random_one_detection_data function
 * @param tags: Array to store generated tag data
 * @param num_tags: Number of tags to generate
 */
void generateRandomOneDetectionData(TagSimple* tags, uint8_t num_tags) {
    if (!tags || num_tags == 0) return;

    for (uint8_t i = 0; i < num_tags; i++) {
        tags[i].tag_id = getRandomNumber(0, 200); // Tag ID range 0-200 as in Python
        tags[i].battery = getRandomNumber(25, 42); // Battery 2.5V-4.2V (stored as 25-42)
    }
}

/**
 * @brief Build Multiple Detection frame (0x18)
 * Equivalent to Python's build_multiple_detection_frame function
 * @param sniffer_id: Sniffer identifier (1-5)
 * @param tags: Array of tag data with distances
 * @param num_tags: Number of tags in the frame
 * @param buffer: Output buffer for the frame
 * @param dataSize: Output size of the generated frame
 */
void buildMultipleDetectionFrame(uint32_t sniffer_id, TagWithDistance* tags, uint8_t num_tags, uint8_t* buffer, size_t* dataSize) {
    if (!buffer || !dataSize || !tags || num_tags == 0) return;

    memset(buffer, 0, MAX_LORA_BUFFER_SIZE);

    size_t offset = 0;

    // Write sniffer_id directly as 4 bytes (little-endian)
    buffer[offset++] = sniffer_id & 0xFF;
    buffer[offset++] = (sniffer_id >> 8) & 0xFF;
    buffer[offset++] = (sniffer_id >> 16) & 0xFF;
    buffer[offset++] = (sniffer_id >> 24) & 0xFF;

    // Total tags registered (1 byte)
    buffer[offset++] = num_tags;

    // Tags in this frame (1 byte)
    buffer[offset++] = num_tags;

    // Tag data: each tag = 4 bytes ID + 2 bytes distance_a + 2 bytes distance_b + 1 byte battery = 9 bytes per tag
    for (uint8_t i = 0; i < num_tags && offset + 9 <= MAX_LORA_BUFFER_SIZE; i++) {
        // Tag ID (4 bytes, little-endian)
        buffer[offset++] = tags[i].tag_id & 0xFF;
        buffer[offset++] = (tags[i].tag_id >> 8) & 0xFF;
        buffer[offset++] = (tags[i].tag_id >> 16) & 0xFF;
        buffer[offset++] = (tags[i].tag_id >> 24) & 0xFF;

        // Distance A (2 bytes, centimeters)
        uint16_t dist_a_cm = (uint16_t)(tags[i].distance_a * 100); // Convert to centimeters
        buffer[offset++] = dist_a_cm & 0xFF;
        buffer[offset++] = (dist_a_cm >> 8) & 0xFF;

        // Distance B (2 bytes, centimeters)
        uint16_t dist_b_cm = (uint16_t)(tags[i].distance_b * 100); // Convert to centimeters
        buffer[offset++] = dist_b_cm & 0xFF;
        buffer[offset++] = (dist_b_cm >> 8) & 0xFF;

        // Battery (1 byte, multiplied by 10)
        uint8_t battery = (uint8_t)(tags[i].battery * 10); // Convert 2.5V-4.2V to 25-42
        buffer[offset++] = battery;
    }

    *dataSize = offset;
}

/**
 * @brief Build One Detection frame (0x17)
 * Equivalent to Python's build_one_detection_frame function
 * @param sniffer_id: Sniffer identifier (32-bit integer)
 * @param tags: Array of simple tag data
 * @param num_tags: Number of tags in the frame
 * @param buffer: Output buffer for the frame
 * @param dataSize: Output size of the generated frame
 */
void buildOneDetectionFrame(uint32_t sniffer_id, TagSimple* tags, uint8_t num_tags, uint8_t* buffer, size_t* dataSize) {
    if (!buffer || !dataSize || !tags || num_tags == 0) return;

    memset(buffer, 0, MAX_LORA_BUFFER_SIZE);

    size_t offset = 0;

    // Write sniffer_id directly as 4 bytes (little-endian)
    buffer[offset++] = sniffer_id & 0xFF;
    buffer[offset++] = (sniffer_id >> 8) & 0xFF;
    buffer[offset++] = (sniffer_id >> 16) & 0xFF;
    buffer[offset++] = (sniffer_id >> 24) & 0xFF;

    // Total tags registered (1 byte)
    buffer[offset++] = num_tags;

    // Tags in this frame (1 byte)
    buffer[offset++] = num_tags;

    // Tag data: each tag = 4 bytes ID + 1 byte battery = 5 bytes per tag
    for (uint8_t i = 0; i < num_tags && offset + 5 <= MAX_LORA_BUFFER_SIZE; i++) {
        // Tag ID (4 bytes, little-endian)
        buffer[offset++] = tags[i].tag_id & 0xFF;
        buffer[offset++] = (tags[i].tag_id >> 8) & 0xFF;
        buffer[offset++] = (tags[i].tag_id >> 16) & 0xFF;
        buffer[offset++] = (tags[i].tag_id >> 24) & 0xFF;

        // Battery (1 byte, already in correct format)
        buffer[offset++] = tags[i].battery;
    }

    *dataSize = offset;
}

/**
 * @brief Main enhanced simulation function matching Python logic
 * Implements the same logic as Python's main() function
 * @param buffer: Output buffer for the frame
 * @param dataSize: Output size of the generated frame
 * @param commandId: Output command ID for the generated frame (0x17 or 0x18)
 */
void enhancedTagSimulation(uint8_t* buffer, size_t* dataSize, uint8_t* commandId) {
    if (!buffer || !dataSize || !commandId) return;

    // Generate random sniffer ID (1-5)
    uint32_t sniffer_id = getRandomNumber(1, MAX_SNIFFERS);

    // Generate random number of tags (0-24)
    uint8_t num_tags = getRandomNumber(0, MAX_TAGS_PER_FRAME);

    if (num_tags == 0) {
        *dataSize = 0;
        *commandId = ONE_DETECTION; // Default
        return;
    }

    // Python logic: if multiple_sniffer_id == sniffer_id, use multiple detection
    if (multiple_sniffer_id == sniffer_id) {
        // Multiple Detection with constant Y positioning
        TagWithDistance tags[MAX_TAGS_PER_FRAME];
        generateDataConstantY(tags, num_tags);
        buildMultipleDetectionFrame(sniffer_id, tags, num_tags, buffer, dataSize);
        *commandId = MULTIPLE_DETECTION;
    } else {
        // One Detection (simple alerts)
        TagSimple tags[MAX_TAGS_PER_FRAME];
        generateRandomOneDetectionData(tags, num_tags);
        buildOneDetectionFrame(sniffer_id, tags, num_tags, buffer, dataSize);
        *commandId = ONE_DETECTION;
    }

    // Update state variables (Python logic)
    received_sniffer_id = sniffer_id;
    if (multiple_sniffer_id == received_sniffer_id) {
        multiple_sniffer_id = 0; // Reset for next cycle
    } else {
        // Randomly set multiple_sniffer_id for next iteration
        if (getRandomNumber(0, 3) == 0) { // 25% chance
            multiple_sniffer_id = sniffer_id;
        }
    }
}

/* USER CODE END 0 */

int main(void)
{

  /* MCU Configuration--------------------------------------------------------*/

  /* Reset of all peripherals, Initializes the Flash interface and the Systick. */
  HAL_Init();

  /* Configure the system clock */
  SystemClock_Config();

  /* Initialize all configured peripherals */
  MX_GPIO_Init();
  MX_I2C1_Init();
  MX_SPI1_Init();
  MX_USART1_UART_Init(); // Assuming USART1 is for debug/other
  MX_USART2_UART_Init(); // Main communication UART
  MX_USART3_UART_Init(); // Assuming USART3 is for other
  MX_ADC1_Init();
  MX_CRC_Init();
 // MX_IWDG_Init(); // Independent Watchdog, enable if needed
  /* USER CODE BEGIN 2 */
    // Print version information at startup

    // Crear instancias de todos los objetos después de que se haya inicializado el hardware
    uartHandler = new UartHandler(&huart1);
    eepromMemory = new Memory(&hi2c1);

    loraNssPin = new Gpio(LORA_NSS_GPIO_Port, LORA_NSS_Pin);
    loraRstPin = new Gpio(LORA_RST_GPIO_Port, LORA_RST_Pin);

    // Lora necesita ser inicializada después de sus dependencias Gpio y Memory
    lora = new Lora(*loraNssPin, *loraRstPin, &hspi1, eepromMemory);

    loraRxLed = new Gpio(LORA_RX_OK_GPIO_Port, LORA_RX_OK_Pin);
    loraTxLed = new Gpio(LORA_TX_OK_GPIO_Port, LORA_TX_OK_Pin);
    keepAliveLed = new Gpio(KEEP_ALIVE_GPIO_Port, KEEP_ALIVE_Pin);

    uartCommandParser = new CommandMessage(static_cast<uint8_t>(DEVICE_MODULE_FUNCTION), DEVICE_ID);
    loraCommandParser = new CommandMessage(static_cast<uint8_t>(MODULE_FUNCTION::SNIFFER), 0x00);
    uartSimulatedCommandParse = new CommandMessage(0x00, 0x00); // MODULE_FUNCTION=0x00, MODULE_ID=0x00 para simulación

    // Configurar los objetos ahora que están creados
    lora->check_already_store_data();

    // FIXED: Proper UART interrupt setup for single-byte reception
    // Start with single byte reception instead of multi-byte
    // This allows proper frame assembly with start/end delimiter detection
    HAL_UART_Receive_IT(&huart1, uartReceiveBuffer, 1);
    // uartHandler->enable_receive_interrupt(1); // Replaced with direct HAL call

    // Inicializar configuración por defecto para simulación de sniffer
    initializeDefaultDeviceConfig();
    uint8_t data[10] = "test";

  /* USER CODE END 2 */

  /* Infinite loop */
    while (1) {

    /* USER CODE BEGIN 3 */
        // 1. Process any new UART data
        if (newUartDataReceived) {
            processUartCommand();
        }

        // Check if 1-second blocking period has expired
        if (blockLoraReception && (HAL_GetTick() - blockStartTime >= BLOCK_DURATION_MS)) {
            blockLoraReception = false;
        }

        // Block all other functions if UART processing is active
        if (!blockLoraReception) {
            // 2. Handle LoRa Transmission if data is pending and mode allows
            if (pendingLoraTransmission) {
                if (currentOperationMode == OperationMode::TX_MODE || currentOperationMode == OperationMode::TX_RX_MODE) {
                    handleLoraTransmission();
                }
            }

            // 3. Handle LoRa Reception if mode allows
            if (!pendingLoraTransmission && (currentOperationMode == OperationMode::RX_MODE || currentOperationMode == OperationMode::TX_RX_MODE)) {
                handleLoraReception();
            }

            // 4. Handle Sniffer Simulation if enabled
            handleSnifferSimulation();

            // Keep-alive LED blinking
            if (keepAliveLed) {
                if (HAL_GetTick() - keepAliveLastTick > 1000) {
                    keepAliveLastTick = HAL_GetTick();
                    HAL_GPIO_WritePin(keepAliveLed->get_port(), keepAliveLed->get_pin(), GPIO_PIN_SET);
                } else {
                    if (HAL_GetTick() - keepAliveLastTick > 500) {
                        HAL_GPIO_WritePin(keepAliveLed->get_port(), keepAliveLed->get_pin(), GPIO_PIN_RESET);
                    }
                }
            }
        }
        //HAL_IWDG_Refresh(&hiwdg);
    }
  /* USER CODE END 3 */
}

void SystemClock_Config(void)
{
  RCC_OscInitTypeDef RCC_OscInitStruct = {0};
  RCC_ClkInitTypeDef RCC_ClkInitStruct = {0};
  RCC_PeriphCLKInitTypeDef PeriphClkInit = {0};

  /** Initializes the RCC Oscillators according to the specified parameters
  * in the RCC_OscInitTypeDef structure.
  */
  RCC_OscInitStruct.OscillatorType = RCC_OSCILLATORTYPE_LSI|RCC_OSCILLATORTYPE_HSE;
  RCC_OscInitStruct.HSEState = RCC_HSE_ON;
  RCC_OscInitStruct.HSEPredivValue = RCC_HSE_PREDIV_DIV1;
  RCC_OscInitStruct.HSIState = RCC_HSI_ON; // Keep HSI on if needed, otherwise can be off if HSE is stable
  RCC_OscInitStruct.LSIState = RCC_LSI_ON; // For IWDG
  RCC_OscInitStruct.PLL.PLLState = RCC_PLL_ON;
  RCC_OscInitStruct.PLL.PLLSource = RCC_PLLSOURCE_HSE;
  RCC_OscInitStruct.PLL.PLLMUL = RCC_PLL_MUL2; // Example: 8MHz HSE * 2 = 16MHz PLLCLK
                                               // Adjust PLLMUL based on your HSE and desired SYSCLK
  if (HAL_RCC_OscConfig(&RCC_OscInitStruct) != HAL_OK)
  {
    Error_Handler();
  }

  /** Initializes the CPU, AHB and APB buses clocks
  */
  RCC_ClkInitStruct.ClockType = RCC_CLOCKTYPE_HCLK|RCC_CLOCKTYPE_SYSCLK
                              |RCC_CLOCKTYPE_PCLK1|RCC_CLOCKTYPE_PCLK2;
  RCC_ClkInitStruct.SYSCLKSource = RCC_SYSCLKSOURCE_PLLCLK;
  RCC_ClkInitStruct.AHBCLKDivider = RCC_SYSCLK_DIV1;
  RCC_ClkInitStruct.APB1CLKDivider = RCC_HCLK_DIV2; // PCLK1 max typically 36MHz for STM32F1
  RCC_ClkInitStruct.APB2CLKDivider = RCC_HCLK_DIV1; // PCLK2 can be higher

  // Adjust Flash Latency based on HCLK frequency
  // For HCLK <= 24MHz, LATENCY_0 is fine.
  // For 24MHz < HCLK <= 48MHz, LATENCY_1.
  // For 48MHz < HCLK <= 72MHz, LATENCY_2.
  // Example: if HSE=8MHz, PLLMUL=9 => SYSCLK=72MHz, HCLK=72MHz. Then FLASH_LATENCY_2.
  // If HSE=8MHz, PLLMUL=2 => SYSCLK=16MHz, HCLK=16MHz. Then FLASH_LATENCY_0.
  if (HAL_RCC_ClockConfig(&RCC_ClkInitStruct, FLASH_LATENCY_0) != HAL_OK) // Adjust FLASH_LATENCY if HCLK > 24MHz
  {
    Error_Handler();
  }
  PeriphClkInit.PeriphClockSelection = RCC_PERIPHCLK_ADC;
  PeriphClkInit.AdcClockSelection = RCC_ADCPCLK2_DIV2; // ADC Clock, e.g., PCLK2/2
                                                       // Ensure ADC clock doesn't exceed its max (e.g. 14MHz for STM32F1)
  if (HAL_RCCEx_PeriphCLKConfig(&PeriphClkInit) != HAL_OK)
  {
    Error_Handler();
  }
}

// ... (MX_ADC1_Init, MX_CRC_Init, MX_I2C1_Init, MX_IWDG_Init, MX_SPI1_Init,
//      MX_USART1_UART_Init, MX_USART2_UART_Init, MX_USART3_UART_Init, MX_GPIO_Init
//      remain largely the same as in the provided snippets, ensure they match your CubeMX configuration)
// ... (Error_Handler, assert_failed also remain the same)

static void MX_ADC1_Init(void)
{

  ADC_ChannelConfTypeDef sConfig = {0};

  /** Common config
  */
  hadc1.Instance = ADC1;
  hadc1.Init.ScanConvMode = ADC_SCAN_ENABLE; // Or ADC_SCAN_DISABLE if single channel
  hadc1.Init.ContinuousConvMode = DISABLE;
  hadc1.Init.DiscontinuousConvMode = DISABLE;
  hadc1.Init.ExternalTrigConv = ADC_SOFTWARE_START;
  hadc1.Init.DataAlign = ADC_DATAALIGN_RIGHT;
  hadc1.Init.NbrOfConversion = 1; // Adjust if more conversions are needed in a scan
  if (HAL_ADC_Init(&hadc1) != HAL_OK)
  {
    Error_Handler();
  }

  /** Configure Regular Channel
  */
  sConfig.Channel = ADC_CHANNEL_0; // Example channel, configure as needed
  sConfig.Rank = ADC_REGULAR_RANK_1;
  sConfig.SamplingTime = ADC_SAMPLETIME_239CYCLES_5; // Adjust as needed
  if (HAL_ADC_ConfigChannel(&hadc1, &sConfig) != HAL_OK)
  {
    Error_Handler();
  }
  /* USER CODE BEGIN ADC1_Init 2 */
  // Add other channels if NbrOfConversion > 1
  /* USER CODE END ADC1_Init 2 */

}

static void MX_CRC_Init(void)
{

  hcrc.Instance = CRC;
  if (HAL_CRC_Init(&hcrc) != HAL_OK)
  {
    Error_Handler();
  }

}

static void MX_I2C1_Init(void)
{

  hi2c1.Instance = I2C1;
  hi2c1.Init.ClockSpeed = 400000; // Fast mode
  hi2c1.Init.DutyCycle = I2C_DUTYCYCLE_2;
  hi2c1.Init.OwnAddress1 = 0;
  hi2c1.Init.AddressingMode = I2C_ADDRESSINGMODE_7BIT;
  hi2c1.Init.DualAddressMode = I2C_DUALADDRESS_DISABLE;
  hi2c1.Init.OwnAddress2 = 0;
  hi2c1.Init.GeneralCallMode = I2C_GENERALCALL_DISABLE;
  hi2c1.Init.NoStretchMode = I2C_NOSTRETCH_DISABLE;
  if (HAL_I2C_Init(&hi2c1) != HAL_OK)
  {
    Error_Handler();
  }

}

static void MX_IWDG_Init(void)
{

  /* USER CODE BEGIN IWDG_Init 1 */
  // IWDG timeout = (LSI_VALUE / Prescaler) * Reload_value
  // LSI_VALUE is typically 40kHz for STM32F1.
  // Timeout = (40000 / 128) * 1875 = 312.5 * 1875 = 585937.5 us approx 0.58 seconds
  // Max reload value is 0xFFF (4095).
  // For a longer timeout, increase prescaler (max 256) or reload.
  /* USER CODE END IWDG_Init 1 */
  hiwdg.Instance = IWDG;
  hiwdg.Init.Prescaler = IWDG_PRESCALER_256;
  hiwdg.Init.Reload = 782; // Results in ~0.58s timeout with 40kHz LSI
  if (HAL_IWDG_Init(&hiwdg) != HAL_OK)
  {
    Error_Handler();
  }

}

static void MX_SPI1_Init(void)
{

  /* SPI1 parameter configuration*/
  hspi1.Instance = SPI1;
  hspi1.Init.Mode = SPI_MODE_MASTER;
  hspi1.Init.Direction = SPI_DIRECTION_2LINES;
  hspi1.Init.DataSize = SPI_DATASIZE_8BIT;
  hspi1.Init.CLKPolarity = SPI_POLARITY_LOW; // LoRa modules usually CPOL=0, CPHA=0 (SPI_PHASE_1EDGE)
  hspi1.Init.CLKPhase = SPI_PHASE_1EDGE;
  hspi1.Init.NSS = SPI_NSS_SOFT; // NSS pin controlled by software
  // BaudRatePrescaler: PCLK2 / Prescaler. If PCLK2 is 16MHz (from PLLMUL=2, HCLK_DIV1)
  // SPI_BAUDRATEPRESCALER_16 => 16MHz/16 = 1MHz.
  // LoRa SX127x max SPI freq is 10MHz. Adjust if PCLK2 is different.
  hspi1.Init.BaudRatePrescaler = SPI_BAUDRATEPRESCALER_16;
  hspi1.Init.FirstBit = SPI_FIRSTBIT_MSB;
  hspi1.Init.TIMode = SPI_TIMODE_DISABLE;
  hspi1.Init.CRCCalculation = SPI_CRCCALCULATION_DISABLE;
  hspi1.Init.CRCPolynomial = 10;
  if (HAL_SPI_Init(&hspi1) != HAL_OK)
  {
    Error_Handler();
  }

}

static void MX_USART1_UART_Init(void)
{

  huart1.Instance = USART1;
  huart1.Init.BaudRate = 115200;
  huart1.Init.WordLength = UART_WORDLENGTH_8B;
  huart1.Init.StopBits = UART_STOPBITS_1;
  huart1.Init.Parity = UART_PARITY_NONE;
  huart1.Init.Mode = UART_MODE_TX_RX;
  huart1.Init.HwFlowCtl = UART_HWCONTROL_NONE;
  huart1.Init.OverSampling = UART_OVERSAMPLING_16;
  if (HAL_UART_Init(&huart1) != HAL_OK)
  {
    Error_Handler();
  }

}

static void MX_USART2_UART_Init(void)
{

  huart2.Instance = USART2;
  huart2.Init.BaudRate = 115200; // Main communication UART
  huart2.Init.WordLength = UART_WORDLENGTH_8B;
  huart2.Init.StopBits = UART_STOPBITS_1;
  huart2.Init.Parity = UART_PARITY_NONE;
  huart2.Init.Mode = UART_MODE_TX_RX;
  huart2.Init.HwFlowCtl = UART_HWCONTROL_NONE;
  huart2.Init.OverSampling = UART_OVERSAMPLING_16;
  if (HAL_UART_Init(&huart2) != HAL_OK)
  {
    Error_Handler();
  }

}

static void MX_USART3_UART_Init(void)
{

  huart3.Instance = USART3;
  huart3.Init.BaudRate = 115200;
  huart3.Init.WordLength = UART_WORDLENGTH_8B;
  huart3.Init.StopBits = UART_STOPBITS_1;
  huart3.Init.Parity = UART_PARITY_NONE;
  huart3.Init.Mode = UART_MODE_TX_RX;
  huart3.Init.HwFlowCtl = UART_HWCONTROL_NONE;
  huart3.Init.OverSampling = UART_OVERSAMPLING_16;
  if (HAL_UART_Init(&huart3) != HAL_OK)
  {
    Error_Handler();
  }

}

static void MX_GPIO_Init(void)
{
  GPIO_InitTypeDef GPIO_InitStruct = {0};

  /* GPIO Ports Clock Enable */
  __HAL_RCC_GPIOD_CLK_ENABLE(); // For HSE if on PD0/PD1
  __HAL_RCC_GPIOA_CLK_ENABLE(); // For USARTs, SPI, Lora DIOs etc.
  __HAL_RCC_GPIOB_CLK_ENABLE(); // For I2C, Lora NSS/RST, LEDs etc.

  /*Configure GPIO pin Output Level */
  // Initialize all relevant output pins to a known state (e.g., RESET)
  // This includes LORA_NSS, LORA_RST, LEDs, RS485_DE, BUZZER
  HAL_GPIO_WritePin(GPIOB, LORA_NSS_Pin|LORA_RST_Pin|LORA_DIO3_Pin|LORA_DIO1_Pin // These DIOs might be inputs for LoRa lib
                          |LORA_BUSSY_Pin|LORA_TX_OK_Pin|LORA_RX_OK_Pin|KEEP_ALIVE_Pin
                          |RS485_DE_Pin|BUZZER_Pin, GPIO_PIN_RESET);
  // Ensure LORA_NSS is high (inactive) initially if not handled by LoRa class constructor
  HAL_GPIO_WritePin(LORA_NSS_GPIO_Port, LORA_NSS_Pin, GPIO_PIN_SET);

  /*Configure GPIO pins : LORA_NSS_Pin LORA_RST_Pin LORA_TX_OK_Pin LORA_RX_OK_Pin
                           KEEP_ALIVE_Pin RS485_DE_Pin BUZZER_Pin */
  GPIO_InitStruct.Pin = LORA_NSS_Pin|LORA_RST_Pin|LORA_TX_OK_Pin|LORA_RX_OK_Pin
                          |KEEP_ALIVE_Pin|RS485_DE_Pin|BUZZER_Pin;
  GPIO_InitStruct.Mode = GPIO_MODE_OUTPUT_PP;
  GPIO_InitStruct.Pull = GPIO_NOPULL;
  GPIO_InitStruct.Speed = GPIO_SPEED_FREQ_LOW;
  HAL_GPIO_Init(GPIOB, &GPIO_InitStruct); // Assuming all these are on GPIOB

  /* Configure LoRa DIO pins as Inputs (example, adjust based on actual LoRa library usage) */
  // DIO0 is typically IRQ for TxDone, RxDone, CadDone
  // DIO1, DIO2, DIO3, DIO4, DIO5 can have various functions.
  // The LoRa library should handle their configuration if it uses them.
  // If you manually check them, configure them as inputs.
  // Example for DIO0:
  // GPIO_InitStruct.Pin = LORA_DIO0_Pin; // Assuming LORA_DIO0_Pin is defined
  // GPIO_InitStruct.Mode = GPIO_MODE_IT_RISING; // Or GPIO_MODE_INPUT
  // GPIO_InitStruct.Pull = GPIO_NOPULL; // Or GPIO_PULLDOWN if required
  // HAL_GPIO_Init(LORA_DIO0_GPIO_Port, &GPIO_InitStruct); // Assuming LORA_DIO0_GPIO_Port is defined

  // LORA_BUSSY_Pin might be an input if it's reflecting the radio's busy state.
  // If LORA_DIO1_Pin, LORA_DIO3_Pin, LORA_BUSSY_Pin are actually inputs from LoRa module:
  GPIO_InitStruct.Pin = LORA_DIO1_Pin|LORA_DIO3_Pin|LORA_BUSSY_Pin;
  GPIO_InitStruct.Mode = GPIO_MODE_INPUT;
  GPIO_InitStruct.Pull = GPIO_NOPULL; // Or specific pull-up/down if needed
  HAL_GPIO_Init(GPIOB, &GPIO_InitStruct); // Assuming these are also on GPIOB

}

/* USER CODE BEGIN 4 */
// Any other custom functions can go here
/* USER CODE END 4 */

void Error_Handler(void)
{
  /* USER CODE BEGIN Error_Handler_Debug */
  /* User can add his own implementation to report the HAL error return state */
  __disable_irq(); // Disable interrupts to prevent further issues
  // Blink an error LED or send an error message via a debug UART if possible
  while (1)
  {
      // Infinite loop, device needs reset
      // Consider toggling an LED rapidly to indicate critical error
      HAL_GPIO_TogglePin(KEEP_ALIVE_GPIO_Port, KEEP_ALIVE_Pin); // Example: Use keep_alive_led for error
      HAL_Delay(100); // Fast blink
  }
  /* USER CODE END Error_Handler_Debug */
}

#ifdef  USE_FULL_ASSERT
/**
  * @brief  Reports the name of the source file and the source line number
  *         where the assert_param error has occurred.
  * @param  file: pointer to the source file name
  * @param  line: assert_param error line source number
  * @retval None
  */
void assert_failed(uint8_t *file, uint32_t line)
{
  /* USER CODE BEGIN 6 */
  /* User can add his own implementation to report the file name and line number,
     ex: printf("Wrong parameters value: file %s on line %d\r\n", file, line) */
  // For production, this might log to EEPROM or a non-volatile memory location.
  /* USER CODE END 6 */
}
#endif /* USE_FULL_ASSERT */
